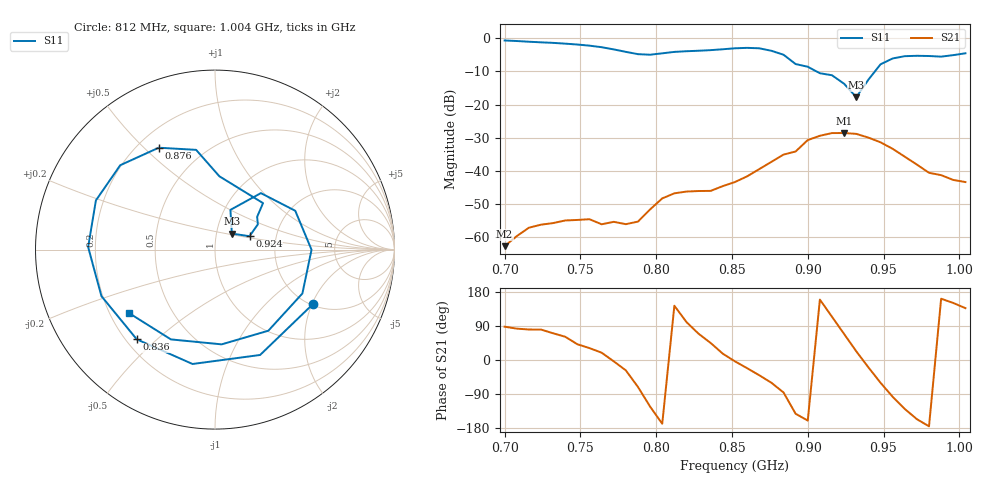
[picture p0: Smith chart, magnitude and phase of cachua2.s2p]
# Hz S RI R 50
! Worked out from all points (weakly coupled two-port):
!   39 points, 700 MHz to 1.004 GHz, reference 50 ohm
!   highest |S21| = -28.57 dB at 924 MHz (marker M1); lowest = -62.7 dB at 700 MHz (marker M2)
!   lowest |S11| = -17.8 dB at 932 MHz (marker M3), VSWR 1.30, Z = 59.3 + j10.8 ohm
!   |S11| at or under -10 dB: 905.8 MHz to 944.3 MHz (38.47 MHz wide, 4.16 % of centre)
!   S12 and S22 are empty: the file has one direction only
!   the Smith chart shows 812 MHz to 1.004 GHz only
!   S11 on the Smith chart (normalised r, x): 812 MHz: 2.03, -2.03; 836 MHz: 0.24, -0.43; 876 MHz: 0.28, +0.55; 924 MHz: 1.46, +0.23; 1.004 GHz: 0.28, -0.31
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7e8  0.7635 0.5278  2.64e-05 0.000733  0 0  0 0
7.24e8  0.8298 -0.2612  0.00026 0.00152  0 0  0 0
7.4e8  0.4433 -0.7027  0.000859 0.00157  0 0  0 0
7.56e8  -0.1958 -0.7497  0.0016 0.000973  0 0  0 0
7.72e8  -0.6545 -0.1858  0.0017 -0.000104  0 0  0 0
7.8e8  -0.5797 0.2327  0.0014 -0.000725  0 0  0 0
7.88e8  -0.2248 0.5311  0.000554 -0.00163  0 0  0 0
7.96e8  0.2616 0.5014  -0.00143 -0.0022  0 0  0 0
8.04e8  0.5752 0.1473  -0.00377 -0.000791  0 0  0 0
8.12e8  0.544 -0.3052  -0.00368 0.00275  0 0  0 0
8.2e8  0.2513 -0.5871  -0.000848 0.00481  0 0  0 0
8.36e8  -0.436 -0.4997  0.00355 0.00352  0 0  0 0
8.52e8  -0.7068 0.014  0.00679 -0.000432  0 0  0 0
8.76e8  -0.3136 0.5677  0.00685 -0.0119  0 0  0 0
9e8  0.2676 0.259  -0.0274 -0.01  0 0  0 0
9.08e8  0.2347 0.1826  -0.0317 0.0119  0 0  0 0
9.24e8  0.1923 0.0745  0.0136 0.0347  0 0  0 0
9.32e8  0.0939 0.0892  0.0333 0.0141  0 0  0 0
9.56e8  0.4471 0.2164  -0.00264 -0.0214  0 0  0 0
9.64e8  0.5378 -0.000645  -0.0104 -0.0127  0 0  0 0
9.8e8  0.2972 -0.4519  -0.00934 -0.000814  0 0  0 0
1.004e9  -0.477 -0.3549  -0.00496 0.00464  0 0  0 0
